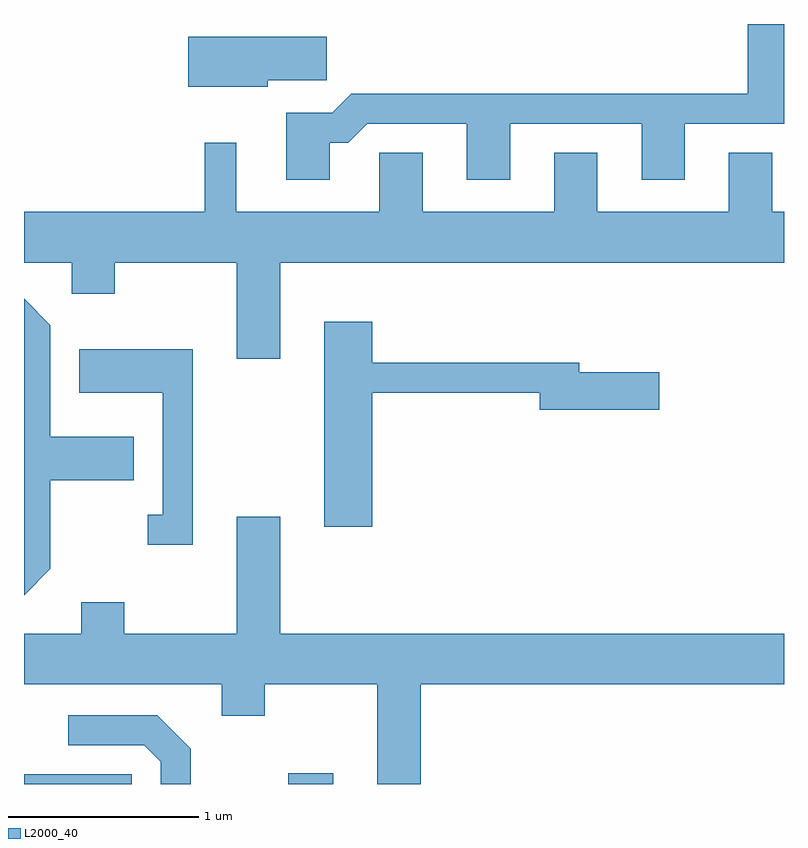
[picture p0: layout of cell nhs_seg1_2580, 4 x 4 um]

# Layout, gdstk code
import gdstk
lib = gdstk.Library(unit=1e-6, precision=1e-09)
def R(c, l, rs):  # rectangles x0, y0, x1, y1
    for r in rs: c.add(gdstk.rectangle(r[:2], r[2:], *l))
def P(c, l, *ps):  # polygons
    for p in ps: c.add(gdstk.Polygon(p, *l))
L2000_40 = (2000, 40)

nhs_seg1_2580 = lib.new_cell('nhs_seg1_2580')
R(nhs_seg1_2580, L2000_40, [(263.611,905.712,264.179,905.764), (265.003,905.712,265.239,905.769)])
P(nhs_seg1_2580, L2000_40, [(265.219,909.086),(265.317,909.086),(265.417,909.186),(265.941,909.186),(265.941,908.891),(266.169,908.891),(266.169,909.186),(266.861,909.186),(266.861,908.891),(267.089,908.891),(267.089,909.186),(267.611,909.186),(267.611,909.712),(267.421,909.712),(267.421,909.344),(265.334,909.344),(265.234,909.244),(264.991,909.244),(264.991,908.891),(265.219,908.891)],
  [(264.894,909.416),(265.204,909.416),(265.204,909.644),(264.476,909.644),(264.476,909.381),(264.894,909.381)],
  [(264.959,908.456),(267.611,908.456),(267.611,908.724),(267.549,908.724),(267.549,909.034),(267.321,909.034),(267.321,908.724),(266.629,908.724),(266.629,909.034),(266.401,909.034),(266.401,908.724),(265.709,908.724),(265.709,909.034),(265.481,909.034),(265.481,908.724),(264.729,908.724),(264.729,909.088),(264.561,909.088),(264.561,908.724),(263.611,908.724),(263.611,908.456),(263.861,908.456),(263.861,908.291),(264.089,908.291),(264.089,908.456),(264.731,908.456),(264.731,907.951),(264.959,907.951)],
  [(263.749,906.844),(263.749,907.311),(264.189,907.311),(264.189,907.539),(263.749,907.539),(263.749,908.127),(263.611,908.265),(263.611,906.705)],
  [(265.444,907.771),(266.326,907.771),(266.326,907.681),(266.954,907.681),(266.954,907.879),(266.534,907.879),(266.534,907.929),(265.444,907.929),(265.444,908.144),(265.191,908.144),(265.191,907.066),(265.444,907.066)],
  [(264.499,907.999),(263.901,907.999),(263.901,907.771),(264.341,907.771),(264.341,907.129),(264.263,907.129),(264.263,906.971),(264.499,906.971)],
  [(265.699,906.236),(267.611,906.236),(267.611,906.504),(264.959,906.504),(264.959,907.119),(264.731,907.119),(264.731,906.504),(264.139,906.504),(264.139,906.669),(263.911,906.669),(263.911,906.504),(263.611,906.504),(263.611,906.236),(264.651,906.236),(264.651,906.071),(264.879,906.071),(264.879,906.236),(265.471,906.236),(265.471,905.712),(265.699,905.712)],
  [(264.489,905.897),(264.312,906.074),(263.843,906.074),(263.843,905.916),(264.244,905.916),(264.331,905.829),(264.331,905.712),(264.489,905.712)])

lib.write_gds('nhs_seg1_2580.gds')
